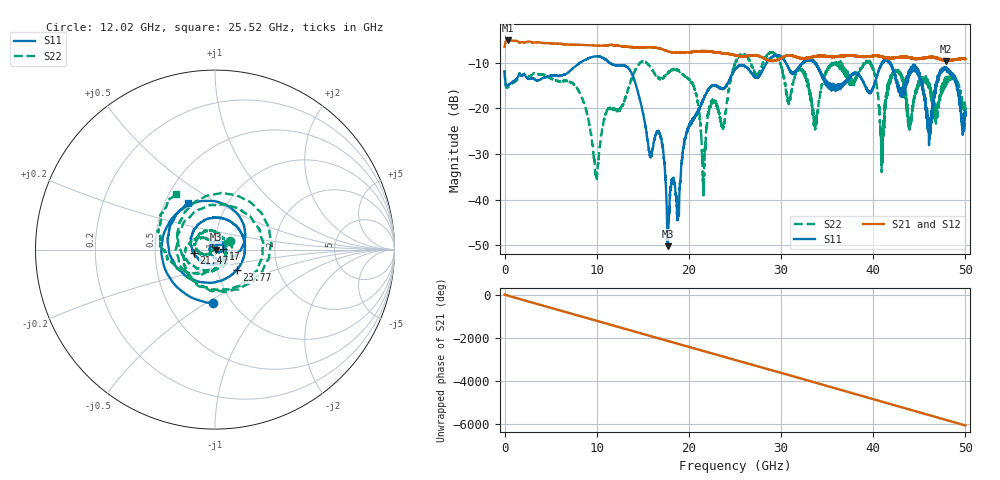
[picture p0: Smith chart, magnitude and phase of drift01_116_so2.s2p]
!Created with skrf (http://scikit-rf.org).
# Hz S RI R 50.0
!freq ReS11 ImS11 ReS21 ImS21 ReS12 ImS12 ReS22 ImS22
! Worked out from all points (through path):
!   10001 points, 300 kHz to 50 GHz, reference 50 ohm
!   highest |S21| = -5.05 dB at 315.3 MHz (marker M1); lowest = -9.6 dB at 47.85 GHz (marker M2)
!   group delay of S21, straight-line fit = 336 ps
!   lowest |S11| = -50.3 dB at 17.69 GHz (marker M3), VSWR 1.01, Z = 50.3 - j0.106 ohm
!   |S11| at or under -10 dB: start of sweep to 8.155 GHz; 11.44 GHz to 28.42 GHz (16.98 GHz wide, 85.2 % of centre); 41.8 GHz to end of sweep (the widest 3 of 11)
!   |S22| runs from -39.1 to -7.7 dB; largest |S21 - S12| = 0.015
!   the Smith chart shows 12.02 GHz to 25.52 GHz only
!   S11 on the Smith chart (normalised r, x): 12.02 GHz: 0.82, -0.54; 17 GHz: 1.10, +0.00; 21.47 GHz: 0.79, -0.03; 23.77 GHz: 1.24, -0.29; 25.52 GHz: 0.66, +0.37
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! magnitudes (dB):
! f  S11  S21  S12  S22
! 300 kHz  -11.8  -6.5  -6.5  -11.7
! 315.3 MHz  -15.0  -5.1  -5.1  -15.4
! 8.335 GHz  -9.8  -6.0  -6.0  -17.5
! 9.935 GHz  -8.5  -6.2  -6.2  -34.3
! 12.02 GHz  -10.5  -6.1  -6.1  -20.4
! 16.67 GHz  -24.9  -6.7  -6.7  -13.3
! 17 GHz  -26.5  -6.9  -6.9  -13.5
! 17.69 GHz  -50.3  -7.4  -7.4  -12.3
! 20.5 GHz  -22.2  -7.6  -7.5  -15.0
! 21.47 GHz  -18.6  -7.4  -7.4  -31.7
! 22.47 GHz  -15.1  -7.5  -7.6  -19.0
! 23.77 GHz  -15.6  -7.9  -7.9  -23.5
! 25 GHz  -11.4  -8.3  -8.3  -10.2
! 25.52 GHz  -10.5  -8.5  -8.5  -8.5
! 33.34 GHz  -9.4  -8.7  -8.7  -19.4
! 39.51 GHz  -16.3  -8.6  -8.6  -9.9
! 40.96 GHz  -10.1  -8.6  -8.6  -28.8
! 41.67 GHz  -9.6  -8.8  -8.9  -14.2
! 44.77 GHz  -11.3  -9.1  -9.1  -15.0
! 46.1 GHz  -25.3  -8.8  -8.8  -14.9
! 47.85 GHz  -11.4  -9.6  -9.5  -13.4
! 50 GHz  -21.6  -9.1  -9.1  -20.3
